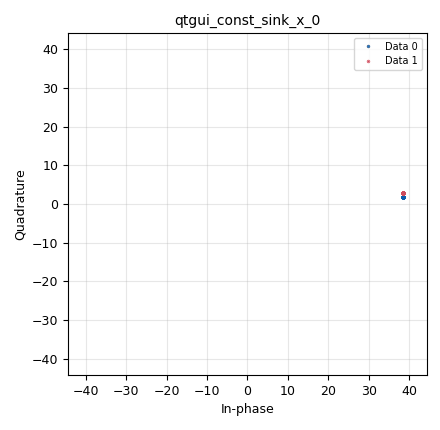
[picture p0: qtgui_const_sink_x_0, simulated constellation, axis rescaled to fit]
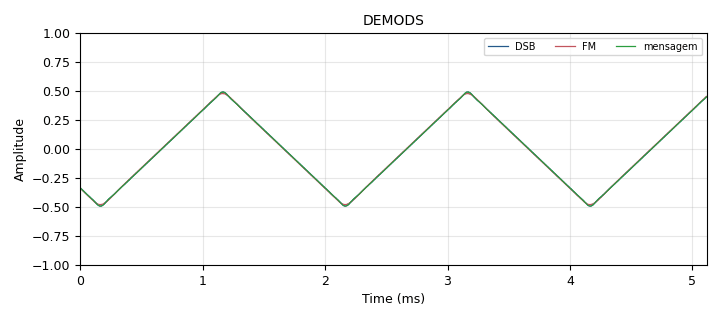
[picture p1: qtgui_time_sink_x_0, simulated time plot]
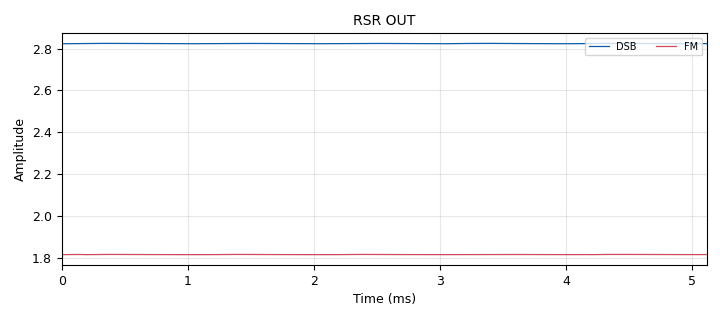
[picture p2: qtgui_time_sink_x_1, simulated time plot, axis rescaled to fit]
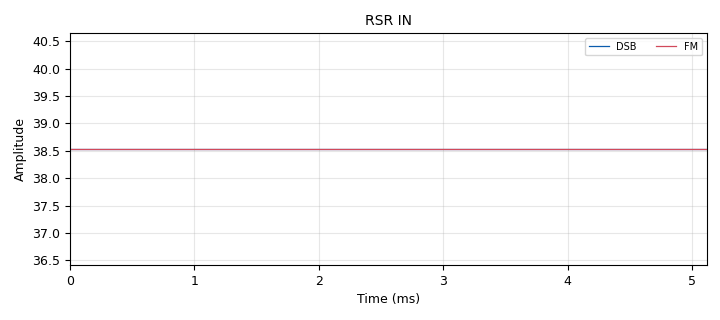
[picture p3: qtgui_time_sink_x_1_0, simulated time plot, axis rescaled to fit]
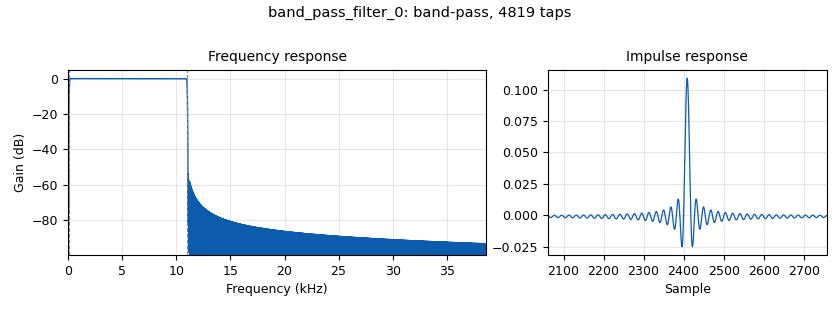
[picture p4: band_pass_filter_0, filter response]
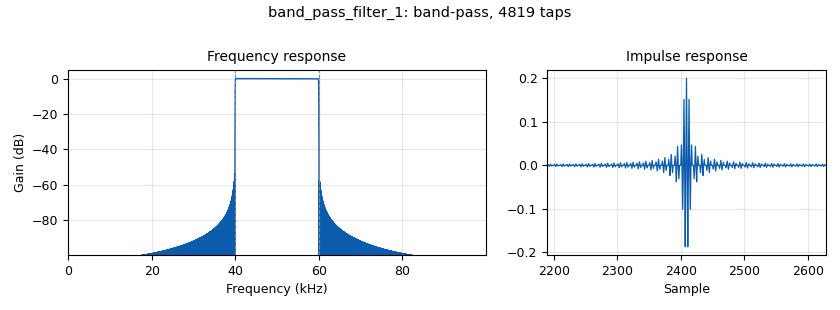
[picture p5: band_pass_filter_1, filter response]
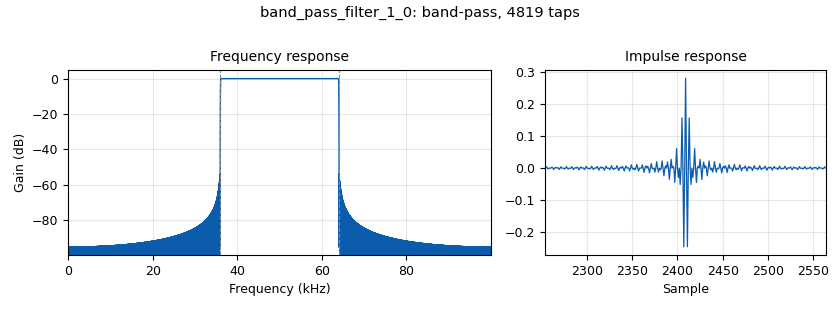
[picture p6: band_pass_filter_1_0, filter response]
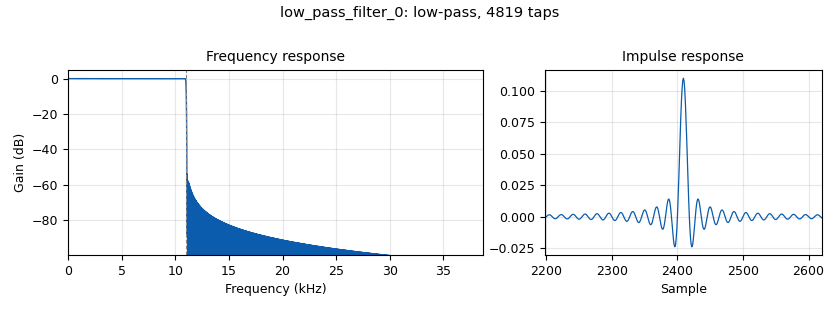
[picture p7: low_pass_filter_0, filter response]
<?xml version='1.0' encoding='utf-8'?>
<?grc format='1' created='3.7.9'?>
<flow_graph>
<block>
<key>options</key>
<param><key>id</key><value>top_block</value></param>
<param><key>category</key><value>Custom</value></param>
<param><key>generate_options</key><value>qt_gui</value></param>
</block>
<block>
<key>variable_qtgui_range</key>
<param><key>id</key><value>Am</value></param>
<param><key>value</key><value>0.5</value></param>
<param><key>orient</key><value>Qt.Horizontal</value></param>
<param><key>start</key><value>0</value></param>
<param><key>step</key><value>.01</value></param>
<param><key>stop</key><value>1</value></param>
</block>
<block>
<key>variable_qtgui_range</key>
<param><key>id</key><value>An_AM</value></param>
<param><key>value</key><value>0</value></param>
<param><key>orient</key><value>Qt.Horizontal</value></param>
<param><key>start</key><value>0</value></param>
<param><key>step</key><value>0.01</value></param>
<param><key>stop</key><value>2</value></param>
</block>
<block>
<key>variable_qtgui_range</key>
<param><key>id</key><value>An_FM</value></param>
<param><key>value</key><value>0</value></param>
<param><key>orient</key><value>Qt.Horizontal</value></param>
<param><key>start</key><value>0</value></param>
<param><key>step</key><value>0.01</value></param>
<param><key>stop</key><value>2</value></param>
</block>
<block>
<key>variable</key>
<param><key>id</key><value>Bm</value></param>
<param><key>value</key><value>10000</value></param>
</block>
<block>
<key>variable</key>
<param><key>id</key><value>Df</value></param>
<param><key>value</key><value>kf*Am</value></param>
</block>
<block>
<key>variable</key>
<param><key>id</key><value>fc</value></param>
<param><key>value</key><value>50000</value></param>
</block>
<block>
<key>variable</key>
<param><key>id</key><value>fm</value></param>
<param><key>value</key><value>500</value></param>
</block>
<block>
<key>variable</key>
<param><key>id</key><value>kf</value></param>
<param><key>value</key><value>8000</value></param>
</block>
<block>
<key>variable_qtgui_range</key>
<param><key>id</key><value>output_gain</value></param>
<param><key>value</key><value>2</value></param>
<param><key>orient</key><value>Qt.Horizontal</value></param>
<param><key>start</key><value>1</value></param>
<param><key>step</key><value>.01</value></param>
<param><key>stop</key><value>4</value></param>
</block>
<block>
<key>variable</key>
<param><key>id</key><value>samp_rate</value></param>
<param><key>value</key><value>200000</value></param>
</block>
<block>
<key>qtgui_tab_widget</key>
<param><key>id</key><value>aba</value></param>
<param><key>label0</key><value>Sinais no Tempo</value></param>
<param><key>label1</key><value>Pot_n_in</value></param>
<param><key>label2</key><value>SNR</value></param>
<param><key>label3</key><value>SNR - Constellation</value></param>
<param><key>label4</key><value>Pot_out</value></param>
<param><key>num_tabs</key><value>5</value></param>
</block>
<block>
<key>analog_noise_source_x</key>
<param><key>id</key><value>analog_noise_source_x_0</value></param>
<param><key>amp</key><value>1</value></param>
<param><key>noise_type</key><value>analog.GR_GAUSSIAN</value></param>
<param><key>type</key><value>complex</value></param>
<param><key>seed</key><value>0</value></param>
</block>
<block>
<key>analog_pll_freqdet_cf</key>
<param><key>id</key><value>analog_pll_freqdet_cf_0</value></param>
<param><key>w</key><value>3.14159265359/50</value></param>
<param><key>max_freq</key><value>2*3.14159265359*(fc+Df+Bm)/samp_rate</value></param>
<param><key>min_freq</key><value>2*3.14159265359*(fc-Df-Bm)/samp_rate</value></param>
</block>
<block>
<key>analog_sig_source_x</key>
<param><key>id</key><value>analog_sig_source_x_0</value></param>
<param><key>amp</key><value>2*Am</value></param>
<param><key>freq</key><value>fm</value></param>
<param><key>offset</key><value>-Am/2</value></param>
<param><key>type</key><value>float</value></param>
<param><key>samp_rate</key><value>samp_rate</value></param>
<param><key>waveform</key><value>analog.GR_TRI_WAVE</value></param>
</block>
<block>
<key>analog_sig_source_x</key>
<param><key>id</key><value>analog_sig_source_x_1</value></param>
<param><key>amp</key><value>1</value></param>
<param><key>freq</key><value>fc</value></param>
<param><key>offset</key><value>0</value></param>
<param><key>type</key><value>complex</value></param>
<param><key>samp_rate</key><value>samp_rate</value></param>
<param><key>waveform</key><value>analog.GR_COS_WAVE</value></param>
</block>
<block>
<key>band_pass_filter</key>
<param><key>id</key><value>band_pass_filter_0</value></param>
<param><key>decim</key><value>1</value></param>
<param><key>type</key><value>fir_filter_fff</value></param>
<param><key>gain</key><value>1</value></param>
<param><key>high_cutoff_freq</key><value>Bm+1000</value></param>
<param><key>low_cutoff_freq</key><value>100</value></param>
<param><key>samp_rate</key><value>samp_rate</value></param>
<param><key>width</key><value>100</value></param>
<param><key>win</key><value>firdes.WIN_HAMMING</value></param>
</block>
<block>
<key>band_pass_filter</key>
<param><key>id</key><value>band_pass_filter_1</value></param>
<param><key>decim</key><value>1</value></param>
<param><key>type</key><value>fir_filter_fff</value></param>
<param><key>gain</key><value>1</value></param>
<param><key>high_cutoff_freq</key><value>fc+Bm</value></param>
<param><key>low_cutoff_freq</key><value>fc-Bm</value></param>
<param><key>samp_rate</key><value>samp_rate</value></param>
<param><key>width</key><value>100</value></param>
<param><key>win</key><value>firdes.WIN_HAMMING</value></param>
</block>
<block>
<key>band_pass_filter</key>
<param><key>id</key><value>band_pass_filter_1_0</value></param>
<param><key>decim</key><value>1</value></param>
<param><key>type</key><value>fir_filter_ccf</value></param>
<param><key>gain</key><value>1</value></param>
<param><key>high_cutoff_freq</key><value>fc+(2*Bm + 2*Df)/2</value></param>
<param><key>low_cutoff_freq</key><value>fc-(2*Bm + 2*Df)/2</value></param>
<param><key>samp_rate</key><value>samp_rate</value></param>
<param><key>width</key><value>100</value></param>
<param><key>win</key><value>firdes.WIN_HAMMING</value></param>
</block>
<block>
<key>blocks_abs_xx</key>
<param><key>id</key><value>blocks_abs_xx_0</value></param>
<param><key>type</key><value>float</value></param>
</block>
<block>
<key>blocks_add_const_vxx</key>
<param><key>id</key><value>blocks_add_const_vxx_0</value></param>
<param><key>const</key><value>1</value></param>
<param><key>type</key><value>float</value></param>
</block>
<block>
<key>blocks_add_const_vxx</key>
<param><key>id</key><value>blocks_add_const_vxx_1</value></param>
<param><key>const</key><value>-2*3.14159265359*fc/samp_rate</value></param>
<param><key>type</key><value>float</value></param>
</block>
<block>
<key>blocks_add_xx</key>
<param><key>id</key><value>blocks_add_xx_0</value></param>
<param><key>type</key><value>float</value></param>
</block>
<block>
<key>blocks_add_xx</key>
<param><key>id</key><value>blocks_add_xx_1</value></param>
<param><key>type</key><value>complex</value></param>
</block>
<block>
<key>blocks_complex_to_real</key>
<param><key>id</key><value>blocks_complex_to_real_0</value></param>
</block>
<block>
<key>blocks_complex_to_real</key>
<param><key>id</key><value>blocks_complex_to_real_1</value></param>
</block>
<block>
<key>blocks_complex_to_real</key>
<param><key>id</key><value>blocks_complex_to_real_2</value></param>
</block>
<block>
<key>blocks_delay</key>
<param><key>id</key><value>blocks_delay_0</value></param>
<param><key>delay</key><value>393</value></param>
<param><key>type</key><value>float</value></param>
</block>
<block>
<key>blocks_delay</key>
<param><key>id</key><value>blocks_delay_0_2</value></param>
<param><key>delay</key><value>378</value></param>
<param><key>type</key><value>float</value></param>
</block>
<block>
<key>blocks_divide_xx</key>
<param><key>id</key><value>blocks_divide_xx_0</value></param>
<param><key>type</key><value>float</value></param>
</block>
<block>
<key>blocks_divide_xx</key>
<param><key>id</key><value>blocks_divide_xx_0_0</value></param>
<param><key>type</key><value>float</value></param>
</block>
<block>
<key>blocks_divide_xx</key>
<param><key>id</key><value>blocks_divide_xx_1</value></param>
<param><key>type</key><value>float</value></param>
</block>
<block>
<key>blocks_divide_xx</key>
<param><key>id</key><value>blocks_divide_xx_1_0</value></param>
<param><key>type</key><value>float</value></param>
</block>
<block>
<key>blocks_float_to_complex</key>
<param><key>id</key><value>blocks_float_to_complex_0</value></param>
</block>
<block>
<key>blocks_float_to_complex</key>
<param><key>id</key><value>blocks_float_to_complex_1</value></param>
</block>
<block>
<key>blocks_multiply_const_vxx</key>
<param><key>id</key><value>blocks_multiply_const_vxx_0</value></param>
<param><key>const</key><value>An_FM</value></param>
<param><key>type</key><value>complex</value></param>
</block>
<block>
<key>blocks_multiply_const_vxx</key>
<param><key>id</key><value>blocks_multiply_const_vxx_0_0</value></param>
<param><key>const</key><value>An_AM</value></param>
<param><key>type</key><value>float</value></param>
</block>
<block>
<key>blocks_multiply_const_vxx</key>
<param><key>id</key><value>blocks_multiply_const_vxx_1</value></param>
<param><key>const</key><value>output_gain</value></param>
<param><key>type</key><value>float</value></param>
</block>
<block>
<key>blocks_multiply_const_vxx</key>
<param><key>id</key><value>blocks_multiply_const_vxx_2</value></param>
<param><key>const</key><value>1/(2*3.14159265359*kf/samp_rate)</value></param>
<param><key>type</key><value>float</value></param>
</block>
<block>
<key>blocks_multiply_xx</key>
<param><key>id</key><value>blocks_multiply_xx_0</value></param>
<param><key>type</key><value>float</value></param>
</block>
<block>
<key>blocks_multiply_xx</key>
<param><key>id</key><value>blocks_multiply_xx_1</value></param>
<param><key>type</key><value>complex</value></param>
</block>
<block>
<key>blocks_nlog10_ff</key>
<param><key>id</key><value>blocks_nlog10_ff_0</value></param>
<param><key>k</key><value>0</value></param>
</block>
<block>
<key>blocks_nlog10_ff</key>
<param><key>id</key><value>blocks_nlog10_ff_1</value></param>
<param><key>k</key><value>0</value></param>
</block>
<block>
<key>blocks_nlog10_ff</key>
<param><key>id</key><value>blocks_nlog10_ff_2</value></param>
<param><key>k</key><value>0</value></param>
</block>
<block>
<key>blocks_nlog10_ff</key>
<param><key>id</key><value>blocks_nlog10_ff_2_0</value></param>
<param><key>k</key><value>0</value></param>
</block>
<block>
<key>blocks_nlog10_ff</key>
<param><key>id</key><value>blocks_nlog10_ff_2_0_0</value></param>
<param><key>k</key><value>0</value></param>
</block>
<block>
<key>blocks_nlog10_ff</key>
<param><key>id</key><value>blocks_nlog10_ff_3</value></param>
<param><key>k</key><value>0</value></param>
</block>
<block>
<key>blocks_nlog10_ff</key>
<param><key>id</key><value>blocks_nlog10_ff_3_0</value></param>
<param><key>k</key><value>0</value></param>
</block>
<block>
<key>blocks_nlog10_ff</key>
<param><key>id</key><value>blocks_nlog10_ff_3_0_0</value></param>
<param><key>k</key><value>0</value></param>
</block>
<block>
<key>blocks_null_sink</key>
<param><key>id</key><value>blocks_null_sink_0</value></param>
<param><key>bus_conns</key><value>[[0,],]</value></param>
<param><key>type</key><value>complex</value></param>
</block>
<block>
<key>blocks_null_sink</key>
<param><key>id</key><value>blocks_null_sink_0_2</value></param>
<param><key>bus_conns</key><value>[[0,],]</value></param>
<param><key>type</key><value>float</value></param>
</block>
<block>
<key>blocks_null_sink</key>
<param><key>id</key><value>blocks_null_sink_0_2_0</value></param>
<param><key>bus_conns</key><value>[[0,],]</value></param>
<param><key>type</key><value>float</value></param>
</block>
<block>
<key>blocks_rms_xx</key>
<param><key>id</key><value>blocks_rms_xx_0</value></param>
<param><key>alpha</key><value>0.0001</value></param>
<param><key>type</key><value>float</value></param>
</block>
<block>
<key>blocks_rms_xx</key>
<param><key>id</key><value>blocks_rms_xx_0_0</value></param>
<param><key>alpha</key><value>0.0001</value></param>
<param><key>type</key><value>float</value></param>
</block>
<block>
<key>blocks_rms_xx</key>
<param><key>id</key><value>blocks_rms_xx_0_0_0</value></param>
<param><key>alpha</key><value>0.0001</value></param>
<param><key>type</key><value>complex</value></param>
</block>
<block>
<key>blocks_rms_xx</key>
<param><key>id</key><value>blocks_rms_xx_0_1</value></param>
<param><key>alpha</key><value>0.0001</value></param>
<param><key>type</key><value>complex</value></param>
</block>
<block>
<key>blocks_rms_xx</key>
<param><key>id</key><value>blocks_rms_xx_1</value></param>
<param><key>alpha</key><value>0.0001</value></param>
<param><key>type</key><value>float</value></param>
</block>
<block>
<key>blocks_rms_xx</key>
<param><key>id</key><value>blocks_rms_xx_1_0</value></param>
<param><key>alpha</key><value>0.0001</value></param>
<param><key>type</key><value>float</value></param>
</block>
<block>
<key>blocks_rms_xx</key>
<param><key>id</key><value>blocks_rms_xx_1_0_0</value></param>
<param><key>alpha</key><value>0.0001</value></param>
<param><key>type</key><value>float</value></param>
</block>
<block>
<key>blocks_rms_xx</key>
<param><key>id</key><value>blocks_rms_xx_1_1</value></param>
<param><key>alpha</key><value>0.0001</value></param>
<param><key>type</key><value>float</value></param>
</block>
<block>
<key>blocks_rms_xx</key>
<param><key>id</key><value>blocks_rms_xx_1_1_0</value></param>
<param><key>alpha</key><value>0.0001</value></param>
<param><key>type</key><value>float</value></param>
</block>
<block>
<key>blocks_sub_xx</key>
<param><key>id</key><value>blocks_sub_xx_0</value></param>
<param><key>type</key><value>float</value></param>
</block>
<block>
<key>blocks_sub_xx</key>
<param><key>id</key><value>blocks_sub_xx_0_0</value></param>
<param><key>type</key><value>float</value></param>
</block>
<block>
<key>blocks_throttle</key>
<param><key>id</key><value>blocks_throttle_0</value></param>
<param><key>samples_per_second</key><value>samp_rate</value></param>
<param><key>type</key><value>complex</value></param>
</block>
<block>
<key>blocks_throttle</key>
<param><key>id</key><value>blocks_throttle_1</value></param>
<param><key>samples_per_second</key><value>samp_rate</value></param>
<param><key>type</key><value>complex</value></param>
</block>
<block>
<key>blocks_vco_c</key>
<param><key>id</key><value>blocks_vco_c_0</value></param>
<param><key>amplitude</key><value>1</value></param>
<param><key>samp_rate</key><value>samp_rate</value></param>
<param><key>sensitivity</key><value>2*3.14159265359*kf</value></param>
</block>
<block>
<key>dc_blocker_xx</key>
<param><key>id</key><value>dc_blocker_xx_0</value></param>
<param><key>length</key><value>400</value></param>
<param><key>long_form</key><value>True</value></param>
<param><key>type</key><value>ff</value></param>
</block>
<block>
<key>low_pass_filter</key>
<param><key>id</key><value>low_pass_filter_0</value></param>
<param><key>cutoff_freq</key><value>Bm+1000</value></param>
<param><key>decim</key><value>1</value></param>
<param><key>type</key><value>fir_filter_fff</value></param>
<param><key>gain</key><value>1</value></param>
<param><key>samp_rate</key><value>samp_rate</value></param>
<param><key>width</key><value>100</value></param>
<param><key>win</key><value>firdes.WIN_HAMMING</value></param>
</block>
<block>
<key>low_pass_filter</key>
<param><key>id</key><value>low_pass_filter_0_0</value></param>
<param><key>cutoff_freq</key><value>Bm+1000</value></param>
<param><key>decim</key><value>1</value></param>
<param><key>type</key><value>fir_filter_fff</value></param>
<param><key>gain</key><value>1</value></param>
<param><key>samp_rate</key><value>samp_rate</value></param>
<param><key>width</key><value>100</value></param>
<param><key>win</key><value>firdes.WIN_HAMMING</value></param>
</block>
<block>
<key>qtgui_const_sink_x</key>
<param><key>id</key><value>qtgui_const_sink_x_0</value></param>
<param><key>gui_hint</key><value>aba@3</value></param>
<param><key>nconnections</key><value>2</value></param>
<param><key>size</key><value>1024</value></param>
<param><key>type</key><value>complex</value></param>
</block>
<block>
<key>qtgui_number_sink</key>
<param><key>id</key><value>qtgui_number_sink_0</value></param>
<param><key>gui_hint</key><value>aba@4</value></param>
<param><key>graph_type</key><value>qtgui.NUM_GRAPH_HORIZ</value></param>
<param><key>type</key><value>float</value></param>
<param><key>label1</key><value>DSB</value></param>
<param><key>label2</key><value>FM</value></param>
<param><key>name</key><value>"Pot_ruido_OUT"</value></param>
<param><key>nconnections</key><value>2</value></param>
</block>
<block>
<key>qtgui_time_sink_x</key>
<param><key>id</key><value>qtgui_time_sink_x_0</value></param>
<param><key>gui_hint</key><value>aba@0</value></param>
<param><key>color1</key><value>"blue"</value></param>
<param><key>label1</key><value>DSB</value></param>
<param><key>color2</key><value>"red"</value></param>
<param><key>label2</key><value>FM</value></param>
<param><key>color3</key><value>"green"</value></param>
<param><key>label3</key><value>mensagem</value></param>
<param><key>name</key><value>"DEMODS"</value></param>
<param><key>nconnections</key><value>3</value></param>
<param><key>size</key><value>1024</value></param>
<param><key>srate</key><value>samp_rate</value></param>
<param><key>type</key><value>float</value></param>
</block>
<block>
<key>qtgui_time_sink_x</key>
<param><key>id</key><value>qtgui_time_sink_x_1</value></param>
<param><key>gui_hint</key><value>aba@2</value></param>
<param><key>color1</key><value>"blue"</value></param>
<param><key>label1</key><value>DSB</value></param>
<param><key>color2</key><value>"red"</value></param>
<param><key>label2</key><value>FM</value></param>
<param><key>name</key><value>"RSR OUT"</value></param>
<param><key>nconnections</key><value>2</value></param>
<param><key>size</key><value>1024</value></param>
<param><key>srate</key><value>samp_rate</value></param>
<param><key>type</key><value>float</value></param>
</block>
<block>
<key>qtgui_time_sink_x</key>
<param><key>id</key><value>qtgui_time_sink_x_1_0</value></param>
<param><key>gui_hint</key><value>aba@2</value></param>
<param><key>color1</key><value>"blue"</value></param>
<param><key>label1</key><value>DSB</value></param>
<param><key>color2</key><value>"red"</value></param>
<param><key>label2</key><value>FM</value></param>
<param><key>name</key><value>"RSR IN"</value></param>
<param><key>nconnections</key><value>2</value></param>
<param><key>size</key><value>1024</value></param>
<param><key>srate</key><value>samp_rate</value></param>
<param><key>type</key><value>float</value></param>
</block>
<block>
<key>qtgui_time_sink_x</key>
<param><key>id</key><value>qtgui_time_sink_x_1_1</value></param>
<param><key>gui_hint</key><value>aba@4</value></param>
<param><key>color1</key><value>"blue"</value></param>
<param><key>label1</key><value>DSB</value></param>
<param><key>color2</key><value>"red"</value></param>
<param><key>label2</key><value>FM</value></param>
<param><key>name</key><value>"Pot_Ruido_IN"</value></param>
<param><key>nconnections</key><value>2</value></param>
<param><key>size</key><value>1024</value></param>
<param><key>srate</key><value>samp_rate</value></param>
<param><key>type</key><value>float</value></param>
</block>
<block>
<key>virtual_sink</key>
<param><key>id</key><value>virtual_sink_0</value></param>
<param><key>stream_id</key><value>mensagem</value></param>
</block>
<block>
<key>virtual_sink</key>
<param><key>id</key><value>virtual_sink_1</value></param>
<param><key>stream_id</key><value>AWGN_FM</value></param>
</block>
<block>
<key>virtual_sink</key>
<param><key>id</key><value>virtual_sink_1_0</value></param>
<param><key>stream_id</key><value>AWGN_AM</value></param>
</block>
<block>
<key>virtual_sink</key>
<param><key>id</key><value>virtual_sink_1_0_0</value></param>
<param><key>stream_id</key><value>portadora_am</value></param>
</block>
<block>
<key>virtual_sink</key>
<param><key>id</key><value>virtual_sink_1_1</value></param>
<param><key>stream_id</key><value>portadora_fm</value></param>
</block>
<block>
<key>virtual_sink</key>
<param><key>id</key><value>virtual_sink_2</value></param>
<param><key>stream_id</key><value>Mod_DSB_in</value></param>
</block>
<block>
<key>virtual_sink</key>
<param><key>id</key><value>virtual_sink_2_0</value></param>
<param><key>stream_id</key><value>Mod_DSB</value></param>
</block>
<block>
<key>virtual_sink</key>
<param><key>id</key><value>virtual_sink_2_0_0</value></param>
<param><key>stream_id</key><value>Mod_FM</value></param>
</block>
<block>
<key>virtual_sink</key>
<param><key>id</key><value>virtual_sink_2_1</value></param>
<param><key>stream_id</key><value>Mod_FM_in</value></param>
</block>
<block>
<key>virtual_sink</key>
<param><key>id</key><value>virtual_sink_3</value></param>
<param><key>stream_id</key><value>Demod_DSB</value></param>
</block>
<block>
<key>virtual_sink</key>
<param><key>id</key><value>virtual_sink_3_0</value></param>
<param><key>stream_id</key><value>Demod_FM</value></param>
</block>
<block>
<key>virtual_sink</key>
<param><key>id</key><value>virtual_sink_4</value></param>
<param><key>stream_id</key><value>Ruido_AM_BP</value></param>
</block>
<block>
<key>virtual_sink</key>
<param><key>id</key><value>virtual_sink_4_0</value></param>
<param><key>stream_id</key><value>RSR_in_AM</value></param>
</block>
<block>
<key>virtual_sink</key>
<param><key>id</key><value>virtual_sink_4_0_0</value></param>
<param><key>stream_id</key><value>Ps_in_AM</value></param>
</block>
<block>
<key>virtual_sink</key>
<param><key>id</key><value>virtual_sink_4_0_0_0</value></param>
<param><key>stream_id</key><value>Ps_in_FM</value></param>
</block>
<block>
<key>virtual_sink</key>
<param><key>id</key><value>virtual_sink_4_0_1</value></param>
<param><key>stream_id</key><value>Pot_Ruido_AM</value></param>
</block>
<block>
<key>virtual_sink</key>
<param><key>id</key><value>virtual_sink_4_0_1_0</value></param>
<param><key>stream_id</key><value>Pot_Ruido_FM</value></param>
</block>
<block>
<key>virtual_sink</key>
<param><key>id</key><value>virtual_sink_4_0_2</value></param>
<param><key>stream_id</key><value>RSR_in_FM</value></param>
</block>
<block>
<key>virtual_sink</key>
<param><key>id</key><value>virtual_sink_4_1</value></param>
<param><key>stream_id</key><value>Ruido_FM_BP</value></param>
</block>
<block>
<key>virtual_sink</key>
<param><key>id</key><value>virtual_sink_5</value></param>
<param><key>stream_id</key><value>Ps_out</value></param>
</block>
<block>
<key>virtual_sink</key>
<param><key>id</key><value>virtual_sink_5_0</value></param>
<param><key>stream_id</key><value>RSR_out_AM</value></param>
</block>
<block>
<key>virtual_sink</key>
<param><key>id</key><value>virtual_sink_5_1</value></param>
<param><key>stream_id</key><value>RSR_out_FM</value></param>
</block>
<block>
<key>virtual_sink</key>
<param><key>id</key><value>virtual_sink_5_2</value></param>
<param><key>stream_id</key><value>Pn_out_AM</value></param>
</block>
<block>
<key>virtual_sink</key>
<param><key>id</key><value>virtual_sink_5_3</value></param>
<param><key>stream_id</key><value>Pn_out_FM</value></param>
</block>
<block>
<key>virtual_source</key>
<param><key>id</key><value>virtual_source_0</value></param>
<param><key>stream_id</key><value>mensagem</value></param>
</block>
<block>
<key>virtual_source</key>
<param><key>id</key><value>virtual_source_0_0</value></param>
<param><key>stream_id</key><value>portadora_am</value></param>
</block>
<block>
<key>virtual_source</key>
<param><key>id</key><value>virtual_source_0_0_1_0</value></param>
<param><key>stream_id</key><value>Mod_DSB</value></param>
</block>
<block>
<key>virtual_source</key>
<param><key>id</key><value>virtual_source_0_0_1_0_0</value></param>
<param><key>stream_id</key><value>Mod_FM</value></param>
</block>
<block>
<key>virtual_source</key>
<param><key>id</key><value>virtual_source_0_1</value></param>
<param><key>stream_id</key><value>mensagem</value></param>
</block>
<block>
<key>virtual_source</key>
<param><key>id</key><value>virtual_source_0_1_0</value></param>
<param><key>stream_id</key><value>AWGN_AM</value></param>
</block>
<block>
<key>virtual_source</key>
<param><key>id</key><value>virtual_source_0_1_0_0</value></param>
<param><key>stream_id</key><value>AWGN_FM</value></param>
</block>
<block>
<key>virtual_source</key>
<param><key>id</key><value>virtual_source_1</value></param>
<param><key>stream_id</key><value>Ruido_AM_BP</value></param>
</block>
<block>
<key>virtual_source</key>
<param><key>id</key><value>virtual_source_1_0</value></param>
<param><key>stream_id</key><value>Ruido_FM_BP</value></param>
</block>
<block>
<key>virtual_source</key>
<param><key>id</key><value>virtual_source_2</value></param>
<param><key>stream_id</key><value>portadora_fm</value></param>
</block>
<block>
<key>virtual_source</key>
<param><key>id</key><value>virtual_source_3</value></param>
<param><key>stream_id</key><value>Mod_DSB_in</value></param>
</block>
<block>
<key>virtual_source</key>
<param><key>id</key><value>virtual_source_3_0</value></param>
<param><key>stream_id</key><value>Mod_FM_in</value></param>
</block>
<block>
<key>virtual_source</key>
<param><key>id</key><value>virtual_source_4</value></param>
<param><key>stream_id</key><value>Demod_DSB</value></param>
</block>
<block>
<key>virtual_source</key>
<param><key>id</key><value>virtual_source_5</value></param>
<param><key>stream_id</key><value>Demod_FM</value></param>
</block>
<block>
<key>virtual_source</key>
<param><key>id</key><value>virtual_source_5_0</value></param>
<param><key>stream_id</key><value>mensagem</value></param>
</block>
<block>
<key>virtual_source</key>
<param><key>id</key><value>virtual_source_6</value></param>
<param><key>stream_id</key><value>RSR_out_AM</value></param>
</block>
<block>
<key>virtual_source</key>
<param><key>id</key><value>virtual_source_6_0</value></param>
<param><key>stream_id</key><value>Pot_Ruido_AM</value></param>
</block>
<block>
<key>virtual_source</key>
<param><key>id</key><value>virtual_source_6_0_0</value></param>
<param><key>stream_id</key><value>Demod_DSB</value></param>
</block>
<block>
<key>virtual_source</key>
<param><key>id</key><value>virtual_source_7</value></param>
<param><key>stream_id</key><value>RSR_in_AM</value></param>
</block>
<block>
<key>virtual_source</key>
<param><key>id</key><value>virtual_source_8</value></param>
<param><key>stream_id</key><value>RSR_in_FM</value></param>
</block>
<block>
<key>virtual_source</key>
<param><key>id</key><value>virtual_source_9</value></param>
<param><key>stream_id</key><value>RSR_out_FM</value></param>
</block>
<block>
<key>virtual_source</key>
<param><key>id</key><value>virtual_source_9_0</value></param>
<param><key>stream_id</key><value>Pot_Ruido_FM</value></param>
</block>
<block>
<key>virtual_source</key>
<param><key>id</key><value>virtual_source_9_0_0</value></param>
<param><key>stream_id</key><value>Demod_FM</value></param>
</block>
<connection><source_block_id>analog_noise_source_x_0</source_block_id><sink_block_id>blocks_complex_to_real_0</sink_block_id><source_key>0</source_key><sink_key>0</sink_key></connection>
<connection><source_block_id>analog_noise_source_x_0</source_block_id><sink_block_id>blocks_multiply_const_vxx_0</sink_block_id><source_key>0</source_key><sink_key>0</sink_key></connection>
<connection><source_block_id>analog_noise_source_x_0</source_block_id><sink_block_id>blocks_throttle_0</sink_block_id><source_key>0</source_key><sink_key>0</sink_key></connection>
<connection><source_block_id>analog_pll_freqdet_cf_0</source_block_id><sink_block_id>blocks_add_const_vxx_1</sink_block_id><source_key>0</source_key><sink_key>0</sink_key></connection>
<connection><source_block_id>analog_sig_source_x_0</source_block_id><sink_block_id>band_pass_filter_0</sink_block_id><source_key>0</source_key><sink_key>0</sink_key></connection>
<connection><source_block_id>analog_sig_source_x_1</source_block_id><sink_block_id>blocks_complex_to_real_2</sink_block_id><source_key>0</source_key><sink_key>0</sink_key></connection>
<connection><source_block_id>analog_sig_source_x_1</source_block_id><sink_block_id>blocks_throttle_1</sink_block_id><source_key>0</source_key><sink_key>0</sink_key></connection>
<connection><source_block_id>band_pass_filter_0</source_block_id><sink_block_id>virtual_sink_0</sink_block_id><source_key>0</source_key><sink_key>0</sink_key></connection>
<connection><source_block_id>band_pass_filter_1</source_block_id><sink_block_id>blocks_rms_xx_0</sink_block_id><source_key>0</source_key><sink_key>0</sink_key></connection>
<connection><source_block_id>band_pass_filter_1</source_block_id><sink_block_id>virtual_sink_4</sink_block_id><source_key>0</source_key><sink_key>0</sink_key></connection>
<connection><source_block_id>band_pass_filter_1_0</source_block_id><sink_block_id>blocks_rms_xx_0_1</sink_block_id><source_key>0</source_key><sink_key>0</sink_key></connection>
<connection><source_block_id>band_pass_filter_1_0</source_block_id><sink_block_id>virtual_sink_4_1</sink_block_id><source_key>0</source_key><sink_key>0</sink_key></connection>
<connection><source_block_id>blocks_abs_xx_0</source_block_id><sink_block_id>low_pass_filter_0</sink_block_id><source_key>0</source_key><sink_key>0</sink_key></connection>
<connection><source_block_id>blocks_add_const_vxx_0</source_block_id><sink_block_id>blocks_multiply_xx_0</sink_block_id><source_key>0</source_key><sink_key>0</sink_key></connection>
<connection><source_block_id>blocks_add_const_vxx_1</source_block_id><sink_block_id>blocks_multiply_const_vxx_2</sink_block_id><source_key>0</source_key><sink_key>0</sink_key></connection>
<connection><source_block_id>blocks_add_xx_0</source_block_id><sink_block_id>blocks_abs_xx_0</sink_block_id><source_key>0</source_key><sink_key>0</sink_key></connection>
<connection><source_block_id>blocks_add_xx_0</source_block_id><sink_block_id>virtual_sink_2_0</sink_block_id><source_key>0</source_key><sink_key>0</sink_key></connection>
<connection><source_block_id>blocks_add_xx_1</source_block_id><sink_block_id>analog_pll_freqdet_cf_0</sink_block_id><source_key>0</source_key><sink_key>0</sink_key></connection>
<connection><source_block_id>blocks_add_xx_1</source_block_id><sink_block_id>blocks_complex_to_real_1</sink_block_id><source_key>0</source_key><sink_key>0</sink_key></connection>
<connection><source_block_id>blocks_complex_to_real_0</source_block_id><sink_block_id>blocks_multiply_const_vxx_0_0</sink_block_id><source_key>0</source_key><sink_key>0</sink_key></connection>
<connection><source_block_id>blocks_complex_to_real_1</source_block_id><sink_block_id>virtual_sink_2_0_0</sink_block_id><source_key>0</source_key><sink_key>0</sink_key></connection>
<connection><source_block_id>blocks_complex_to_real_2</source_block_id><sink_block_id>virtual_sink_1_0_0</sink_block_id><source_key>0</source_key><sink_key>0</sink_key></connection>
<connection><source_block_id>blocks_delay_0</source_block_id><sink_block_id>blocks_sub_xx_0</sink_block_id><source_key>0</source_key><sink_key>0</sink_key></connection>
<connection><source_block_id>blocks_delay_0</source_block_id><sink_block_id>qtgui_time_sink_x_0</sink_block_id><source_key>0</source_key><sink_key>0</sink_key></connection>
<connection><source_block_id>blocks_delay_0_2</source_block_id><sink_block_id>blocks_sub_xx_0_0</sink_block_id><source_key>0</source_key><sink_key>0</sink_key></connection>
<connection><source_block_id>blocks_delay_0_2</source_block_id><sink_block_id>qtgui_time_sink_x_0</sink_block_id><source_key>0</source_key><sink_key>1</sink_key></connection>
<connection><source_block_id>blocks_divide_xx_0</source_block_id><sink_block_id>virtual_sink_4_0</sink_block_id><source_key>0</source_key><sink_key>0</sink_key></connection>
<connection><source_block_id>blocks_divide_xx_0_0</source_block_id><sink_block_id>virtual_sink_4_0_2</sink_block_id><source_key>0</source_key><sink_key>0</sink_key></connection>
<connection><source_block_id>blocks_divide_xx_1</source_block_id><sink_block_id>virtual_sink_5_0</sink_block_id><source_key>0</source_key><sink_key>0</sink_key></connection>
<connection><source_block_id>blocks_divide_xx_1_0</source_block_id><sink_block_id>virtual_sink_5_1</sink_block_id><source_key>0</source_key><sink_key>0</sink_key></connection>
<connection><source_block_id>blocks_float_to_complex_0</source_block_id><sink_block_id>qtgui_const_sink_x_0</sink_block_id><source_key>0</source_key><sink_key>0</sink_key></connection>
<connection><source_block_id>blocks_float_to_complex_1</source_block_id><sink_block_id>qtgui_const_sink_x_0</sink_block_id><source_key>0</source_key><sink_key>1</sink_key></connection>
<connection><source_block_id>blocks_multiply_const_vxx_0</source_block_id><sink_block_id>virtual_sink_1</sink_block_id><source_key>0</source_key><sink_key>0</sink_key></connection>
<connection><source_block_id>blocks_multiply_const_vxx_0_0</source_block_id><sink_block_id>virtual_sink_1_0</sink_block_id><source_key>0</source_key><sink_key>0</sink_key></connection>
<connection><source_block_id>blocks_multiply_const_vxx_1</source_block_id><sink_block_id>virtual_sink_3</sink_block_id><source_key>0</source_key><sink_key>0</sink_key></connection>
<connection><source_block_id>blocks_multiply_const_vxx_2</source_block_id><sink_block_id>low_pass_filter_0_0</sink_block_id><source_key>0</source_key><sink_key>0</sink_key></connection>
<connection><source_block_id>blocks_multiply_xx_0</source_block_id><sink_block_id>blocks_add_xx_0</sink_block_id><source_key>0</source_key><sink_key>1</sink_key></connection>
<connection><source_block_id>blocks_multiply_xx_0</source_block_id><sink_block_id>virtual_sink_2</sink_block_id><source_key>0</source_key><sink_key>0</sink_key></connection>
<connection><source_block_id>blocks_multiply_xx_1</source_block_id><sink_block_id>blocks_add_xx_1</sink_block_id><source_key>0</source_key><sink_key>1</sink_key></connection>
<connection><source_block_id>blocks_multiply_xx_1</source_block_id><sink_block_id>virtual_sink_2_1</sink_block_id><source_key>0</source_key><sink_key>0</sink_key></connection>
<connection><source_block_id>blocks_nlog10_ff_0</source_block_id><sink_block_id>blocks_float_to_complex_1</sink_block_id><source_key>0</source_key><sink_key>0</sink_key></connection>
<connection><source_block_id>blocks_nlog10_ff_0</source_block_id><sink_block_id>qtgui_time_sink_x_1_0</sink_block_id><source_key>0</source_key><sink_key>0</sink_key></connection>
<connection><source_block_id>blocks_nlog10_ff_1</source_block_id><sink_block_id>blocks_float_to_complex_0</sink_block_id><source_key>0</source_key><sink_key>0</sink_key></connection>
<connection><source_block_id>blocks_nlog10_ff_1</source_block_id><sink_block_id>qtgui_time_sink_x_1_0</sink_block_id><source_key>0</source_key><sink_key>1</sink_key></connection>
<connection><source_block_id>blocks_nlog10_ff_2</source_block_id><sink_block_id>blocks_float_to_complex_1</sink_block_id><source_key>0</source_key><sink_key>1</sink_key></connection>
<connection><source_block_id>blocks_nlog10_ff_2</source_block_id><sink_block_id>qtgui_time_sink_x_1</sink_block_id><source_key>0</source_key><sink_key>0</sink_key></connection>
<connection><source_block_id>blocks_nlog10_ff_2_0</source_block_id><sink_block_id>qtgui_time_sink_x_1_1</sink_block_id><source_key>0</source_key><sink_key>0</sink_key></connection>
<connection><source_block_id>blocks_nlog10_ff_2_0_0</source_block_id><sink_block_id>qtgui_number_sink_0</sink_block_id><source_key>0</source_key><sink_key>0</sink_key></connection>
<connection><source_block_id>blocks_nlog10_ff_3</source_block_id><sink_block_id>blocks_float_to_complex_0</sink_block_id><source_key>0</source_key><sink_key>1</sink_key></connection>
<connection><source_block_id>blocks_nlog10_ff_3</source_block_id><sink_block_id>qtgui_time_sink_x_1</sink_block_id><source_key>0</source_key><sink_key>1</sink_key></connection>
<connection><source_block_id>blocks_nlog10_ff_3_0</source_block_id><sink_block_id>qtgui_time_sink_x_1_1</sink_block_id><source_key>0</source_key><sink_key>1</sink_key></connection>
<connection><source_block_id>blocks_nlog10_ff_3_0_0</source_block_id><sink_block_id>qtgui_number_sink_0</sink_block_id><source_key>0</source_key><sink_key>1</sink_key></connection>
<connection><source_block_id>blocks_rms_xx_0</source_block_id><sink_block_id>blocks_divide_xx_0</sink_block_id><source_key>0</source_key><sink_key>1</sink_key></connection>
<connection><source_block_id>blocks_rms_xx_0</source_block_id><sink_block_id>virtual_sink_4_0_1</sink_block_id><source_key>0</source_key><sink_key>0</sink_key></connection>
<connection><source_block_id>blocks_rms_xx_0_0</source_block_id><sink_block_id>blocks_divide_xx_0</sink_block_id><source_key>0</source_key><sink_key>0</sink_key></connection>
<connection><source_block_id>blocks_rms_xx_0_0</source_block_id><sink_block_id>virtual_sink_4_0_0</sink_block_id><source_key>0</source_key><sink_key>0</sink_key></connection>
<connection><source_block_id>blocks_rms_xx_0_0_0</source_block_id><sink_block_id>blocks_divide_xx_0_0</sink_block_id><source_key>0</source_key><sink_key>0</sink_key></connection>
<connection><source_block_id>blocks_rms_xx_0_0_0</source_block_id><sink_block_id>virtual_sink_4_0_0_0</sink_block_id><source_key>0</source_key><sink_key>0</sink_key></connection>
<connection><source_block_id>blocks_rms_xx_0_1</source_block_id><sink_block_id>blocks_divide_xx_0_0</sink_block_id><source_key>0</source_key><sink_key>1</sink_key></connection>
<connection><source_block_id>blocks_rms_xx_0_1</source_block_id><sink_block_id>virtual_sink_4_0_1_0</sink_block_id><source_key>0</source_key><sink_key>0</sink_key></connection>
<connection><source_block_id>blocks_rms_xx_1</source_block_id><sink_block_id>blocks_divide_xx_1</sink_block_id><source_key>0</source_key><sink_key>0</sink_key></connection>
<connection><source_block_id>blocks_rms_xx_1</source_block_id><sink_block_id>blocks_divide_xx_1_0</sink_block_id><source_key>0</source_key><sink_key>0</sink_key></connection>
<connection><source_block_id>blocks_rms_xx_1</source_block_id><sink_block_id>virtual_sink_5</sink_block_id><source_key>0</source_key><sink_key>0</sink_key></connection>
<connection><source_block_id>blocks_rms_xx_1_0</source_block_id><sink_block_id>blocks_divide_xx_1</sink_block_id><source_key>0</source_key><sink_key>1</sink_key></connection>
<connection><source_block_id>blocks_rms_xx_1_0</source_block_id><sink_block_id>virtual_sink_5_2</sink_block_id><source_key>0</source_key><sink_key>0</sink_key></connection>
<connection><source_block_id>blocks_rms_xx_1_0_0</source_block_id><sink_block_id>blocks_nlog10_ff_2_0_0</sink_block_id><source_key>0</source_key><sink_key>0</sink_key></connection>
<connection><source_block_id>blocks_rms_xx_1_1</source_block_id><sink_block_id>blocks_divide_xx_1_0</sink_block_id><source_key>0</source_key><sink_key>1</sink_key></connection>
<connection><source_block_id>blocks_rms_xx_1_1</source_block_id><sink_block_id>virtual_sink_5_3</sink_block_id><source_key>0</source_key><sink_key>0</sink_key></connection>
<connection><source_block_id>blocks_rms_xx_1_1_0</source_block_id><sink_block_id>blocks_nlog10_ff_3_0_0</sink_block_id><source_key>0</source_key><sink_key>0</sink_key></connection>
<connection><source_block_id>blocks_sub_xx_0</source_block_id><sink_block_id>blocks_rms_xx_1_0</sink_block_id><source_key>0</source_key><sink_key>0</sink_key></connection>
<connection><source_block_id>blocks_sub_xx_0_0</source_block_id><sink_block_id>blocks_rms_xx_1_1</sink_block_id><source_key>0</source_key><sink_key>0</sink_key></connection>
<connection><source_block_id>blocks_throttle_0</source_block_id><sink_block_id>blocks_null_sink_0</sink_block_id><source_key>0</source_key><sink_key>0</sink_key></connection>
<connection><source_block_id>blocks_throttle_1</source_block_id><sink_block_id>virtual_sink_1_1</sink_block_id><source_key>0</source_key><sink_key>0</sink_key></connection>
<connection><source_block_id>blocks_vco_c_0</source_block_id><sink_block_id>blocks_multiply_xx_1</sink_block_id><source_key>0</source_key><sink_key>0</sink_key></connection>
<connection><source_block_id>dc_blocker_xx_0</source_block_id><sink_block_id>blocks_multiply_const_vxx_1</sink_block_id><source_key>0</source_key><sink_key>0</sink_key></connection>
<connection><source_block_id>low_pass_filter_0</source_block_id><sink_block_id>dc_blocker_xx_0</sink_block_id><source_key>0</source_key><sink_key>0</sink_key></connection>
<connection><source_block_id>low_pass_filter_0_0</source_block_id><sink_block_id>virtual_sink_3_0</sink_block_id><source_key>0</source_key><sink_key>0</sink_key></connection>
<connection><source_block_id>virtual_source_0</source_block_id><sink_block_id>blocks_add_const_vxx_0</sink_block_id><source_key>0</source_key><sink_key>0</sink_key></connection>
<connection><source_block_id>virtual_source_0_0</source_block_id><sink_block_id>blocks_multiply_xx_0</sink_block_id><source_key>0</source_key><sink_key>1</sink_key></connection>
<connection><source_block_id>virtual_source_0_0_1_0</source_block_id><sink_block_id>blocks_null_sink_0_2</sink_block_id><source_key>0</source_key><sink_key>0</sink_key></connection>
<connection><source_block_id>virtual_source_0_0_1_0_0</source_block_id><sink_block_id>blocks_null_sink_0_2_0</sink_block_id><source_key>0</source_key><sink_key>0</sink_key></connection>
<connection><source_block_id>virtual_source_0_1</source_block_id><sink_block_id>blocks_vco_c_0</sink_block_id><source_key>0</source_key><sink_key>0</sink_key></connection>
<connection><source_block_id>virtual_source_0_1_0</source_block_id><sink_block_id>band_pass_filter_1</sink_block_id><source_key>0</source_key><sink_key>0</sink_key></connection>
<connection><source_block_id>virtual_source_0_1_0_0</source_block_id><sink_block_id>band_pass_filter_1_0</sink_block_id><source_key>0</source_key><sink_key>0</sink_key></connection>
<connection><source_block_id>virtual_source_1</source_block_id><sink_block_id>blocks_add_xx_0</sink_block_id><source_key>0</source_key><sink_key>0</sink_key></connection>
<connection><source_block_id>virtual_source_1_0</source_block_id><sink_block_id>blocks_add_xx_1</sink_block_id><source_key>0</source_key><sink_key>0</sink_key></connection>
<connection><source_block_id>virtual_source_2</source_block_id><sink_block_id>blocks_multiply_xx_1</sink_block_id><source_key>0</source_key><sink_key>1</sink_key></connection>
<connection><source_block_id>virtual_source_3</source_block_id><sink_block_id>blocks_rms_xx_0_0</sink_block_id><source_key>0</source_key><sink_key>0</sink_key></connection>
<connection><source_block_id>virtual_source_3_0</source_block_id><sink_block_id>blocks_rms_xx_0_0_0</sink_block_id><source_key>0</source_key><sink_key>0</sink_key></connection>
<connection><source_block_id>virtual_source_4</source_block_id><sink_block_id>blocks_delay_0</sink_block_id><source_key>0</source_key><sink_key>0</sink_key></connection>
<connection><source_block_id>virtual_source_5</source_block_id><sink_block_id>blocks_delay_0_2</sink_block_id><source_key>0</source_key><sink_key>0</sink_key></connection>
<connection><source_block_id>virtual_source_5_0</source_block_id><sink_block_id>blocks_rms_xx_1</sink_block_id><source_key>0</source_key><sink_key>0</sink_key></connection>
<connection><source_block_id>virtual_source_5_0</source_block_id><sink_block_id>blocks_sub_xx_0</sink_block_id><source_key>0</source_key><sink_key>1</sink_key></connection>
<connection><source_block_id>virtual_source_5_0</source_block_id><sink_block_id>blocks_sub_xx_0_0</sink_block_id><source_key>0</source_key><sink_key>1</sink_key></connection>
<connection><source_block_id>virtual_source_5_0</source_block_id><sink_block_id>qtgui_time_sink_x_0</sink_block_id><source_key>0</source_key><sink_key>2</sink_key></connection>
<connection><source_block_id>virtual_source_6</source_block_id><sink_block_id>blocks_nlog10_ff_2</sink_block_id><source_key>0</source_key><sink_key>0</sink_key></connection>
<connection><source_block_id>virtual_source_6_0</source_block_id><sink_block_id>blocks_nlog10_ff_2_0</sink_block_id><source_key>0</source_key><sink_key>0</sink_key></connection>
<connection><source_block_id>virtual_source_6_0_0</source_block_id><sink_block_id>blocks_rms_xx_1_0_0</sink_block_id><source_key>0</source_key><sink_key>0</sink_key></connection>
<connection><source_block_id>virtual_source_7</source_block_id><sink_block_id>blocks_nlog10_ff_0</sink_block_id><source_key>0</source_key><sink_key>0</sink_key></connection>
<connection><source_block_id>virtual_source_8</source_block_id><sink_block_id>blocks_nlog10_ff_1</sink_block_id><source_key>0</source_key><sink_key>0</sink_key></connection>
<connection><source_block_id>virtual_source_9</source_block_id><sink_block_id>blocks_nlog10_ff_3</sink_block_id><source_key>0</source_key><sink_key>0</sink_key></connection>
<connection><source_block_id>virtual_source_9_0</source_block_id><sink_block_id>blocks_nlog10_ff_3_0</sink_block_id><source_key>0</source_key><sink_key>0</sink_key></connection>
<connection><source_block_id>virtual_source_9_0_0</source_block_id><sink_block_id>blocks_rms_xx_1_1_0</sink_block_id><source_key>0</source_key><sink_key>0</sink_key></connection>
</flow_graph>
